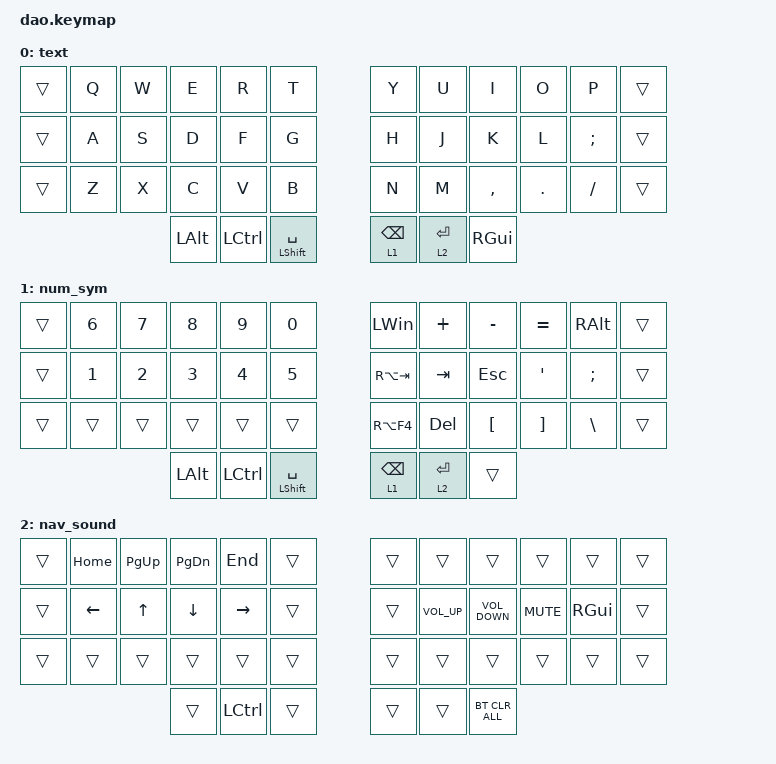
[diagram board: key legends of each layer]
#include <dt-bindings/zmk/mouse.h>
#include <behaviors.dtsi>
#include <dt-bindings/zmk/bt.h>
#include <dt-bindings/zmk/keys.h>

#define DEF 0
#define LWR 1
#define RSE 2
#define ADJ 3

&mt { quick_tap_ms = <200>; };

&lt { quick_tap_ms = <200>; };

&mmv {
};

/ {
    chosen {
        zmk,matrix_transform = &default_transform;

        // zmk,matrix_transform = &extra_keys_transform;
    };
};

/ {
    combos {
        compatible = "zmk,combos";

        printscreen {
            bindings = <&kp PRINTSCREEN>;
            key-positions = <37 4>;
        };

        next_tab {
            bindings = <&kp LC(TAB)>;
            key-positions = <37 16>;
        };

        prev_tab {
            bindings = <&kp LS(LC(TAB))>;
            key-positions = <37 15>;
        };

        prev_page {
            bindings = <&kp LA(LEFT)>;
            key-positions = <37 1>;
        };

        next_page {
            bindings = <&kp LA(RIGHT)>;
            key-positions = <37 2>;
        };

        delete {
            bindings = <&kp DEL>;
            key-positions = <37 28>;
        };

        prev_workspace {
            bindings = <&kp LG(LC(LEFT))>;
            key-positions = <37 25>;
        };

        next_workspace {
            bindings = <&kp LG(LC(RIGHT))>;
            key-positions = <37 26>;
        };

        enter {
            bindings = <&kp ENTER>;
            key-positions = <37 3>;
        };

        backspace {
            bindings = <&kp BACKSPACE>;
            key-positions = <37 27>;
        };

        prev_window {
            bindings = <&kp LA(LS(TAB))>;
            key-positions = <37 13>;
        };

        next_window {
            bindings = <&kp LA(TAB)>;
            key-positions = <37 14>;
        };
    };

    keymap {
        compatible = "zmk,keymap";

        text {
            bindings = <
&trans  &kp Q  &kp W  &kp E     &kp R      &kp T            &kp Y            &kp U        &kp I      &kp O    &kp P     &trans
&trans  &kp A  &kp S  &kp D     &kp F      &kp G            &kp H            &kp J        &kp K      &kp L    &kp SEMI  &trans
&trans  &kp Z  &kp X  &kp C     &kp V      &kp B            &kp N            &kp M        &kp COMMA  &kp DOT  &kp FSLH  &trans
                      &kp LALT  &kp LCTRL  &mt LSHFT SPACE  &lt 1 BACKSPACE  &lt 2 ENTER  &kp RGUI
            >;
        };

        num_sym {
            bindings = <
&trans  &kp N6  &kp N7  &kp N8        &kp N9     &kp N0            &kp LWIN         &kp PLUS     &kp MINUS         &kp EQUAL          &kp RALT       &trans
&trans  &kp N1  &kp N2  &kp N3        &kp N4     &kp N5            &kp RA(TAB)      &kp TAB      &kp ESCAPE        &kp APOS           &kp SEMI       &trans
&trans  &trans  &trans  &trans        &trans     &trans            &kp RA(F4)       &kp DELETE   &kp LEFT_BRACKET  &kp RIGHT_BRACKET  &kp BACKSLASH  &trans
                        &kp LEFT_ALT  &kp LCTRL  &mt LSHIFT SPACE  &lt 1 BACKSPACE  &lt 2 ENTER  &trans
            >;
        };

        nav_sound {
            bindings = <
&trans  &kp HOME  &kp PG_UP  &kp PAGE_DOWN  &kp END    &trans  &trans  &trans           &trans             &trans      &trans    &trans
&trans  &kp LEFT  &kp UP     &kp DOWN       &kp RIGHT  &trans  &trans  &kp C_VOLUME_UP  &kp C_VOLUME_DOWN  &kp C_MUTE  &kp RGUI  &trans
&trans  &trans    &trans     &trans         &trans     &trans  &trans  &trans           &trans             &trans      &trans    &trans
                             &trans         &kp LCTRL  &trans  &trans  &trans           &bt BT_CLR_ALL
            >;
        };
    };
};
